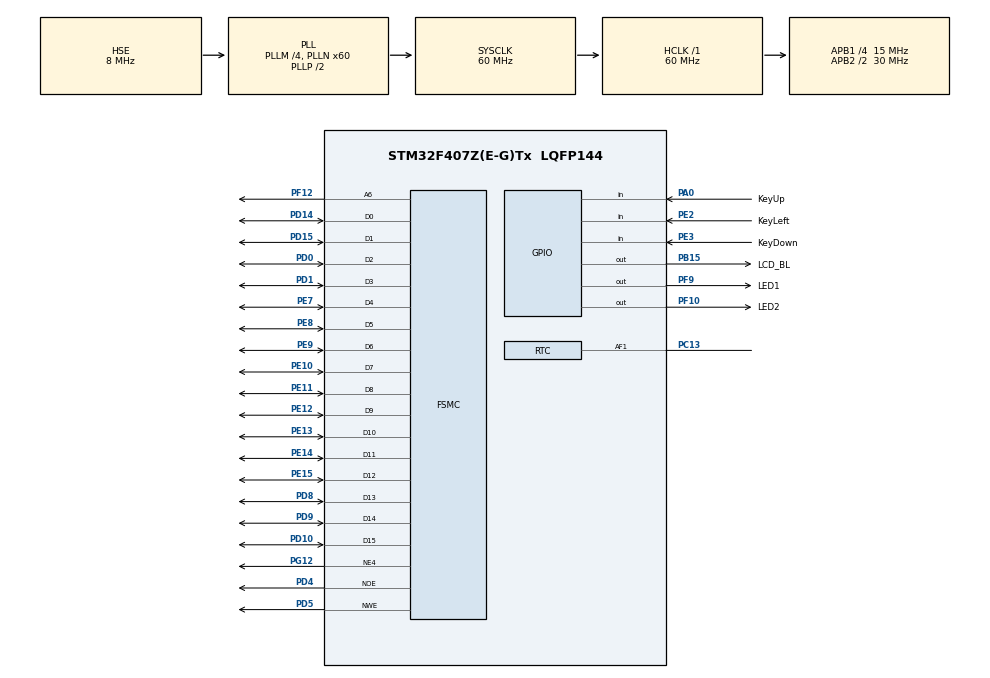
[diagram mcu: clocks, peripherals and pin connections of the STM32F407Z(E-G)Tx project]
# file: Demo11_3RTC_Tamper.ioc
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FSMC.AccessMode4=FSMC_ACCESS_MODE_A
FSMC.AddressSetupTime4=2
FSMC.BusTurnAroundDuration4=0
FSMC.DataSetupTime4=16
FSMC.ExtendedAccessMode4=FSMC_ACCESS_MODE_A
FSMC.ExtendedAddressSetupTime4=4
FSMC.ExtendedBusTurnAroundDuration4=0
FSMC.ExtendedDataSetupTime4=9
FSMC.ExtendedMode4=FSMC_EXTENDED_MODE_ENABLE
FSMC.NSBank4=FSMC_NORSRAM_BANK4
FSMC.WriteOperation4=FSMC_WRITE_OPERATION_ENABLE
Mcu.Family=STM32F4
Mcu.Name=STM32F407Z(E-G)Tx
Mcu.Package=LQFP144
NVIC.PriorityGroup=NVIC_PRIORITYGROUP_4
NVIC.RTC_WKUP_IRQn=true\:1\:0\:true\:false\:true\:true\:true\:true
NVIC.TAMP_STAMP_IRQn=true\:1\:0\:true\:false\:true\:true\:true\:true
PA0-WKUP.GPIO_Label=KeyUp
PA0-WKUP.GPIO_PuPd=GPIO_PULLDOWN
PA0-WKUP.Signal=GPIO_Input
PA13.Mode=Serial_Wire
PA13.Signal=SYS_JTMS-SWDIO
PA14.Mode=Serial_Wire
PA14.Signal=SYS_JTCK-SWCLK
PB15.GPIO_Label=LCD_BL
PB15.PinState=GPIO_PIN_RESET
PB15.Signal=GPIO_Output
PC13-ANTI_TAMP.Mode=Tamper 1 enabled - Input Enabled to AF1
PC13-ANTI_TAMP.Signal=RTC_AF1
PC14-OSC32_IN.Mode=LSE-External-Oscillator
PC14-OSC32_IN.Signal=RCC_OSC32_IN
PC15-OSC32_OUT.Mode=LSE-External-Oscillator
PC15-OSC32_OUT.Signal=RCC_OSC32_OUT
PD0.Signal=FSMC_D2_DA2
PD1.Signal=FSMC_D3_DA3
PD10.Signal=FSMC_D15_DA15
PD14.Signal=FSMC_D0_DA0
PD15.Signal=FSMC_D1_DA1
PD4.Signal=FSMC_NOE
PD5.Signal=FSMC_NWE
PD8.Signal=FSMC_D13_DA13
PD9.Signal=FSMC_D14_DA14
PE10.Signal=FSMC_D7_DA7
PE11.Signal=FSMC_D8_DA8
PE12.Signal=FSMC_D9_DA9
PE13.Signal=FSMC_D10_DA10
PE14.Signal=FSMC_D11_DA11
PE15.Signal=FSMC_D12_DA12
PE2.GPIO_Label=KeyLeft
PE2.GPIO_PuPd=GPIO_PULLUP
PE2.Signal=GPIO_Input
PE3.GPIO_Label=KeyDown
PE3.GPIO_PuPd=GPIO_PULLUP
PE3.Signal=GPIO_Input
PE7.Signal=FSMC_D4_DA4
PE8.Signal=FSMC_D5_DA5
PE9.Signal=FSMC_D6_DA6
PF10.GPIO_Label=LED2
PF10.Signal=GPIO_Output
PF12.Signal=FSMC_A6
PF9.GPIO_Label=LED1
PF9.Signal=GPIO_Output
PG12.Mode=NorPsramChipSelect4_4
PG12.Signal=FSMC_NE4
PH0-OSC_IN.Mode=HSE-External-Oscillator
PH0-OSC_IN.Signal=RCC_OSC_IN
PH1-OSC_OUT.Mode=HSE-External-Oscillator
PH1-OSC_OUT.Signal=RCC_OSC_OUT
ProjectManager.HeapSize=0x200
ProjectManager.StackSize=0x400
ProjectManager.TargetToolchain=STM32CubeIDE
RCC.48MHZClocksFreq_Value=30000000
RCC.AHBFreq_Value=60000000
RCC.APB1CLKDivider=RCC_HCLK_DIV4
RCC.APB1Freq_Value=15000000
RCC.APB1TimFreq_Value=30000000
RCC.APB2CLKDivider=RCC_HCLK_DIV2
RCC.APB2Freq_Value=30000000
RCC.APB2TimFreq_Value=60000000
RCC.CortexFreq_Value=60000000
RCC.FLatency=FLASH_LATENCY_1
RCC.HCLKFreq_Value=60000000
RCC.HSE_VALUE=8000000
RCC.HSI_VALUE=16000000
RCC.PLLM=4
RCC.PLLN=60
RCC.PLLSourceVirtual=RCC_PLLSOURCE_HSE
RCC.RCC_RTC_Clock_Source=RCC_RTCCLKSOURCE_LSE
RCC.RCC_RTC_Clock_SourceVirtual=RCC_RTCCLKSOURCE_LSE
RCC.SYSCLKFreq_VALUE=60000000
RCC.SYSCLKSource=RCC_SYSCLKSOURCE_PLLCLK
RCC.VCOOutputFreq_Value=120000000
RTC.Date=15
RTC.Filter=RTC_TAMPERFILTER_4SAMPLE
RTC.Format=RTC_FORMAT_BIN
RTC.Hours=15
RTC.Minutes=30
RTC.Month=RTC_MONTH_MAY
RTC.PinSelection_1=RTC_TAMPERPIN_DEFAULT
RTC.PrechargeDuration=RTC_TAMPERPRECHARGEDURATION_2RTCCLK
RTC.SamplingFrequency=RTC_TAMPERSAMPLINGFREQ_RTCCLK_DIV512
RTC.Seconds=0
RTC.WakeUpClock=RTC_WAKEUPCLOCK_CK_SPRE_16BITS
RTC.WeekDay=RTC_WEEKDAY_MONDAY
RTC.Year=19
SH.FSMC_A6.0=FSMC_A6,A6_4
SH.FSMC_D0_DA0.0=FSMC_D0,16b-d4
SH.FSMC_D10_DA10.0=FSMC_D10,16b-d4
SH.FSMC_D11_DA11.0=FSMC_D11,16b-d4
SH.FSMC_D12_DA12.0=FSMC_D12,16b-d4
SH.FSMC_D13_DA13.0=FSMC_D13,16b-d4
SH.FSMC_D14_DA14.0=FSMC_D14,16b-d4
SH.FSMC_D15_DA15.0=FSMC_D15,16b-d4
SH.FSMC_D1_DA1.0=FSMC_D1,16b-d4
SH.FSMC_D2_DA2.0=FSMC_D2,16b-d4
SH.FSMC_D3_DA3.0=FSMC_D3,16b-d4
SH.FSMC_D4_DA4.0=FSMC_D4,16b-d4
SH.FSMC_D5_DA5.0=FSMC_D5,16b-d4
SH.FSMC_D6_DA6.0=FSMC_D6,16b-d4
SH.FSMC_D7_DA7.0=FSMC_D7,16b-d4
SH.FSMC_D8_DA8.0=FSMC_D8,16b-d4
SH.FSMC_D9_DA9.0=FSMC_D9,16b-d4
SH.FSMC_NOE.0=FSMC_NOE,Lcd4
SH.FSMC_NWE.0=FSMC_NWE,Lcd4
VP_RTC_VS_RTC_Activate.Mode=RTC_Enabled
VP_RTC_VS_RTC_Calendar.Mode=RTC_Calendar
VP_RTC_VS_RTC_WakeUp_intern.Mode=WakeUp
board=custom

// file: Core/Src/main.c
/* USER CODE BEGIN Header */
/**
 ******************************************************************************
 * @file           : main.c
 * @brief          : Main program body
 ******************************************************************************
 * @attention
 *
 * Copyright (c) 2022 STMicroelectronics.
 * All rights reserved.
 *
 * This software is licensed under terms that can be found in the LICENSE file
 * in the root directory of this software component.
 * If no LICENSE file comes with this software, it is provided AS-IS.
 *
 ******************************************************************************
 */
/* USER CODE END Header */
#include "main.h"
#include "rtc.h"
#include "gpio.h"
#include "fsmc.h"

/* USER CODE BEGIN Includes */
#include "lcd.h"
#include "keyled.h"
#include <stdio.h>
/* USER CODE END Includes */

void SystemClock_Config(void);

int main(void)
{

  /* MCU Configuration--------------------------------------------------------*/

  /* Reset of all peripherals, Initializes the Flash interface and the Systick. */
  HAL_Init();

  /* Configure the system clock */
  SystemClock_Config();

  /* Initialize all configured peripherals */
  MX_GPIO_Init();
  MX_FSMC_Init();
  MX_RTC_Init();
  /* USER CODE BEGIN 2 */
	lcd_init();
	__HAL_RTC_WAKEUPTIMER_DISABLE(&hrtc);
	lcd_show_str(0, 0, 16, "Demo11_3:RTC Tamper and TtimeStamp ", RED);
	lcd_show_str(0, 20, 16, "Please connect PE2 and PC13 by line", RED);
	lcd_show_str(0, 40, 16, "KeyRight simulate tamper event     ", RED);

	lcd_show_str(0, 100, 16, "[1]KeyUp    = Save time to BKUP    ", RED);
	lcd_show_str(0, 120, 16, "[2]KeyDown  = Read BKUP registers  ", RED);
	lcd_show_str(0, 140, 16, "[3]KeyRight = Trigger tamper event ", RED);
	__HAL_RTC_WAKEUPTIMER_ENABLE(&hrtc);
  /* USER CODE END 2 */

  /* Infinite loop */
  /* USER CODE BEGIN WHILE */
	while (1) {
		KEYS curKey = ScanPressedKey(KEY_WAIT_ALWAYS);
		lcd_fill(0, 170, 320, 270, WHITE);
		switch (curKey) {
		case KEY_UP:
			RTC_SaveToBKUP();
			break;
		case KEY_DOWN:
			RTC_ReadBKUP();
			break;
		default:
			break;
		}
		HAL_Delay(200);
    /* USER CODE END WHILE */

	}
}

void SystemClock_Config(void)
{
  RCC_OscInitTypeDef RCC_OscInitStruct = {0};
  RCC_ClkInitTypeDef RCC_ClkInitStruct = {0};

  /** Configure the main internal regulator output voltage
  */
  __HAL_RCC_PWR_CLK_ENABLE();
  __HAL_PWR_VOLTAGESCALING_CONFIG(PWR_REGULATOR_VOLTAGE_SCALE1);

  /** Initializes the RCC Oscillators according to the specified parameters
  * in the RCC_OscInitTypeDef structure.
  */
  RCC_OscInitStruct.OscillatorType = RCC_OSCILLATORTYPE_HSE|RCC_OSCILLATORTYPE_LSE;
  RCC_OscInitStruct.HSEState = RCC_HSE_ON;
  RCC_OscInitStruct.LSEState = RCC_LSE_ON;
  RCC_OscInitStruct.PLL.PLLState = RCC_PLL_ON;
  RCC_OscInitStruct.PLL.PLLSource = RCC_PLLSOURCE_HSE;
  RCC_OscInitStruct.PLL.PLLM = 4;
  RCC_OscInitStruct.PLL.PLLN = 60;
  RCC_OscInitStruct.PLL.PLLP = RCC_PLLP_DIV2;
  RCC_OscInitStruct.PLL.PLLQ = 4;
  if (HAL_RCC_OscConfig(&RCC_OscInitStruct) != HAL_OK)
  {
    Error_Handler();
  }

  /** Initializes the CPU, AHB and APB buses clocks
  */
  RCC_ClkInitStruct.ClockType = RCC_CLOCKTYPE_HCLK|RCC_CLOCKTYPE_SYSCLK
                              |RCC_CLOCKTYPE_PCLK1|RCC_CLOCKTYPE_PCLK2;
  RCC_ClkInitStruct.SYSCLKSource = RCC_SYSCLKSOURCE_PLLCLK;
  RCC_ClkInitStruct.AHBCLKDivider = RCC_SYSCLK_DIV1;
  RCC_ClkInitStruct.APB1CLKDivider = RCC_HCLK_DIV4;
  RCC_ClkInitStruct.APB2CLKDivider = RCC_HCLK_DIV2;

  if (HAL_RCC_ClockConfig(&RCC_ClkInitStruct, FLASH_LATENCY_1) != HAL_OK)
  {
    Error_Handler();
  }
}

/* USER CODE BEGIN 4 */
void HAL_RTCEx_WakeUpTimerEventCallback(RTC_HandleTypeDef *hrtc) {
	RTC_TimeTypeDef sTime;
	RTC_DateTypeDef sDate;
	LED1_Toggle();
	if (HAL_RTC_GetTime(hrtc, &sTime, RTC_FORMAT_BIN) == HAL_OK) {
		HAL_RTC_GetDate(hrtc, &sDate, RTC_FORMAT_BIN);
		char str[40];
		/* Show Time */
		sprintf(str, "%2d:%2d:%2d", sTime.Hours, sTime.Minutes,
				sTime.Seconds);
		lcd_show_str(0, 60, 16, str, RED);
	}
}

void HAL_RTCEx_Tamper1EventCallback(RTC_HandleTypeDef *hrtc) {
	lcd_fill(0, 170, 320, 270, WHITE);
	lcd_show_str(0, 180, 16, "Tamper1 is triggered", RED);
	lcd_show_str(0, 200, 16, "All BKUP-Regs are cleared", RED);
	RTC_TimeTypeDef sTime;
	RTC_DateTypeDef sDate;
	if (HAL_RTCEx_GetTimeStamp(hrtc, &sTime, &sDate, RTC_FORMAT_BIN)
			== HAL_OK) {
		char str[40];
		/* Show Time */
		sprintf(str, "%2d:%2d:%2d", sTime.Hours, sTime.Minutes,
				sTime.Seconds);
		lcd_show_str(0, 220, 16, str, RED);
	}
}

void RTC_SaveToBKUP() {
	RTC_TimeTypeDef sTime;
	RTC_DateTypeDef sDate;
	if (HAL_RTC_GetTime(&hrtc, &sTime, RTC_FORMAT_BIN) == HAL_OK) {
		HAL_RTC_GetDate(&hrtc, &sDate, RTC_FORMAT_BIN);
		HAL_RTCEx_BKUPWrite(&hrtc, RTC_BKP_DR2, sTime.Hours);
		HAL_RTCEx_BKUPWrite(&hrtc, RTC_BKP_DR3, sTime.Minutes);
		HAL_RTCEx_BKUPWrite(&hrtc, RTC_BKP_DR4, sTime.Seconds);
		lcd_show_str(0, 180, 16, "Time is saved in BKUP", RED);
		char str[40];
		/* Show Time */
		sprintf(str, "%2d:%2d:%2d", sTime.Hours, sTime.Minutes,
				sTime.Seconds);
		lcd_show_str(0, 200, 16, str, RED);
	}
}

void RTC_ReadBKUP() {
	char str[40];
	sprintf(str, "saved time(Hour), BKP_DR2 = %lu",
			HAL_RTCEx_BKUPRead(&hrtc, RTC_BKP_DR2));
	lcd_show_str(0, 180, 16, str, RED);

	sprintf(str, "saved time(Min),  BKP_DR3 = %lu",
			HAL_RTCEx_BKUPRead(&hrtc, RTC_BKP_DR3));
	lcd_show_str(0, 200, 16, str, RED);

	sprintf(str, "saved time(Sec),  BKP_DR4 = %lu",
			HAL_RTCEx_BKUPRead(&hrtc, RTC_BKP_DR4));
	lcd_show_str(0, 220, 16, str, RED);

}
/* USER CODE END 4 */

void Error_Handler(void)
{
	__disable_irq();
	while (1) {
	}
}
